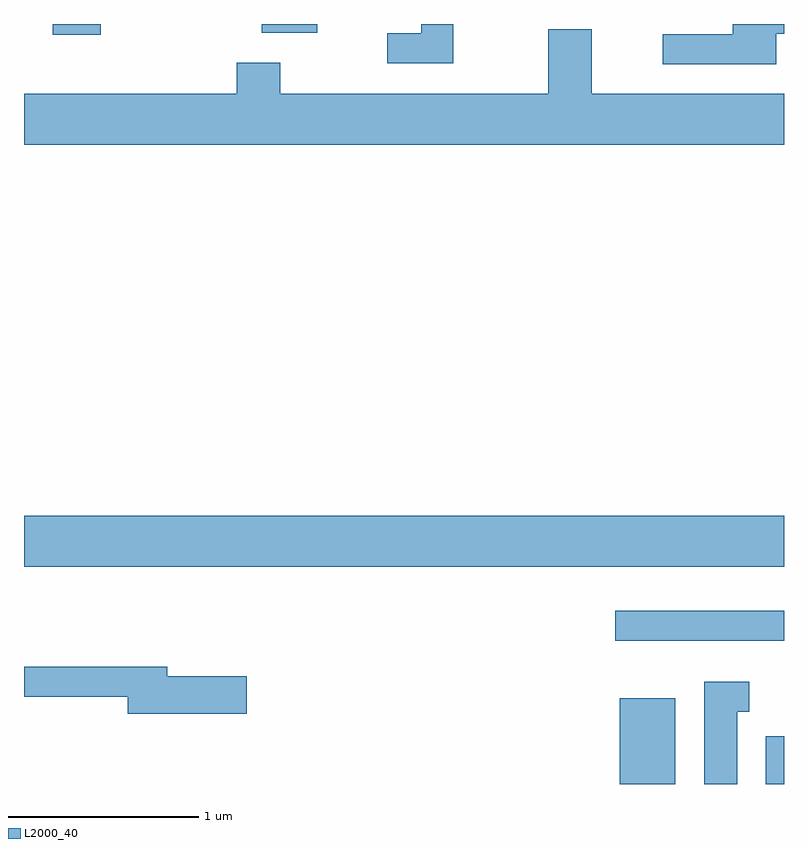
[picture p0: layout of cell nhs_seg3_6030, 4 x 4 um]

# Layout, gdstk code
import gdstk
lib = gdstk.Library(unit=1e-6, precision=1e-09)
def R(c, l, rs):  # rectangles x0, y0, x1, y1
    for r in rs: c.add(gdstk.rectangle(r[:2], r[2:], *l))
def P(c, l, *ps):  # polygons
    for p in ps: c.add(gdstk.Polygon(p, *l))
L2000_40 = (2000, 40)

nhs_seg3_6030 = lib.new_cell('nhs_seg3_6030')
R(nhs_seg3_6030, L2000_40, [(364.746,1215.892,365.039,1216.344), (365.516,1215.892,365.611,1216.144), (364.723,1216.646,365.611,1216.804), (361.611,1217.036,365.611,1217.304), (361.761,1219.836,362.014,1219.892), (362.861,1219.846,363.154,1219.892)])
P(nhs_seg3_6030, L2000_40, [(363.869,1219.892),(363.701,1219.892),(363.701,1219.844),(363.523,1219.844),(363.523,1219.686),(363.869,1219.686)],
  [(365.569,1219.841),(365.611,1219.841),(365.611,1219.892),(365.341,1219.892),(365.341,1219.839),(364.973,1219.839),(364.973,1219.681),(365.569,1219.681)],
  [(365.611,1219.524),(364.599,1219.524),(364.599,1219.864),(364.371,1219.864),(364.371,1219.524),(362.959,1219.524),(362.959,1219.689),(362.731,1219.689),(362.731,1219.524),(361.611,1219.524),(361.611,1219.256),(365.611,1219.256)],
  [(362.784,1216.459),(362.364,1216.459),(362.364,1216.509),(361.611,1216.509),(361.611,1216.351),(362.156,1216.351),(362.156,1216.261),(362.784,1216.261)],
  [(365.364,1216.271),(365.428,1216.271),(365.428,1216.429),(365.191,1216.429),(365.191,1215.892),(365.364,1215.892)])

lib.write_gds('nhs_seg3_6030.gds')
